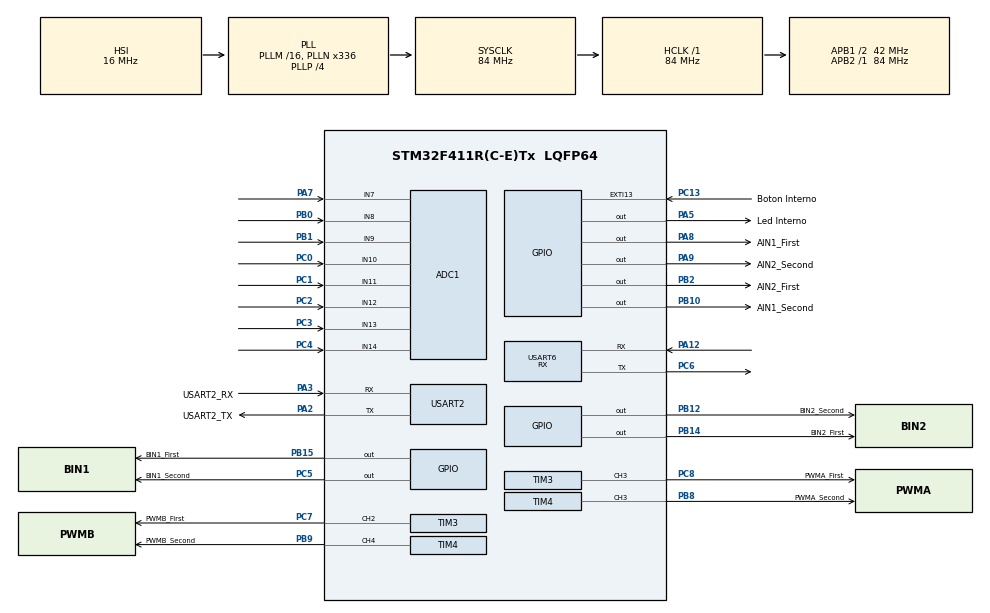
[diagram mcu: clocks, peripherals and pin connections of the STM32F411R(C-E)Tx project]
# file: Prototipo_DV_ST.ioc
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ADC1.Channel-0\#ChannelRegularConversion=ADC_CHANNEL_7
ADC1.Channel-10\#ChannelRegularConversion=ADC_CHANNEL_9
ADC1.Channel-11\#ChannelRegularConversion=ADC_CHANNEL_10
ADC1.Channel-12\#ChannelRegularConversion=ADC_CHANNEL_11
ADC1.Channel-13\#ChannelRegularConversion=ADC_CHANNEL_12
ADC1.Channel-14\#ChannelRegularConversion=ADC_CHANNEL_13
ADC1.Channel-15\#ChannelRegularConversion=ADC_CHANNEL_14
ADC1.Channel-16\#ChannelRegularConversion=ADC_CHANNEL_TEMPSENSOR
ADC1.Channel-9\#ChannelRegularConversion=ADC_CHANNEL_8
ADC1.ContinuousConvMode=ENABLE
ADC1.DMAContinuousRequests=ENABLE
ADC1.NbrOfConversion=9
ADC1.NbrOfConversionFlag=1
ADC1.Rank-10\#ChannelRegularConversion=3
ADC1.Rank-11\#ChannelRegularConversion=4
ADC1.Rank-12\#ChannelRegularConversion=5
ADC1.Rank-13\#ChannelRegularConversion=6
ADC1.Rank-14\#ChannelRegularConversion=7
ADC1.Rank-15\#ChannelRegularConversion=8
ADC1.Rank-16\#ChannelRegularConversion=9
ADC1.Rank-9\#ChannelRegularConversion=2
ADC1.SamplingTime-10\#ChannelRegularConversion=ADC_SAMPLETIME_3CYCLES
ADC1.SamplingTime-11\#ChannelRegularConversion=ADC_SAMPLETIME_3CYCLES
ADC1.SamplingTime-12\#ChannelRegularConversion=ADC_SAMPLETIME_3CYCLES
ADC1.SamplingTime-13\#ChannelRegularConversion=ADC_SAMPLETIME_3CYCLES
ADC1.SamplingTime-14\#ChannelRegularConversion=ADC_SAMPLETIME_3CYCLES
ADC1.SamplingTime-15\#ChannelRegularConversion=ADC_SAMPLETIME_3CYCLES
ADC1.SamplingTime-16\#ChannelRegularConversion=ADC_SAMPLETIME_3CYCLES
ADC1.SamplingTime-9\#ChannelRegularConversion=ADC_SAMPLETIME_3CYCLES
ADC1.ScanConvMode=ENABLE
ADC1.master=1
Dma.ADC1.0.Direction=DMA_PERIPH_TO_MEMORY
Dma.ADC1.0.FIFOMode=DMA_FIFOMODE_DISABLE
Dma.ADC1.0.Instance=DMA2_Stream0
Dma.ADC1.0.MemDataAlignment=DMA_MDATAALIGN_WORD
Dma.ADC1.0.MemInc=DMA_MINC_ENABLE
Dma.ADC1.0.Mode=DMA_CIRCULAR
Dma.ADC1.0.PeriphDataAlignment=DMA_PDATAALIGN_WORD
Dma.ADC1.0.PeriphInc=DMA_PINC_DISABLE
Dma.ADC1.0.Priority=DMA_PRIORITY_LOW
Dma.Request0=ADC1
Mcu.Family=STM32F4
Mcu.Name=STM32F411R(C-E)Tx
Mcu.Package=LQFP64
NVIC.DMA2_Stream0_IRQn=true\:0\:0\:false\:false\:true\:false\:true\:true
NVIC.PriorityGroup=NVIC_PRIORITYGROUP_0
NVIC.USART2_IRQn=true\:0\:0\:false\:false\:true\:true\:true\:true
NVIC.USART6_IRQn=true\:0\:0\:false\:false\:true\:true\:true\:true
PA12.Mode=Asynchronous
PA12.Signal=USART6_RX
PA13.GPIO_Label=SWDIO
PA13.Mode=Serial_Wire
PA13.Signal=SYS_JTMS-SWDIO
PA14.GPIO_Label=SWCLK
PA14.Mode=Serial_Wire
PA14.Signal=SYS_JTCK-SWCLK
PA2.GPIO_Label=USART2_TX
PA2.Mode=Asynchronous
PA2.Signal=USART2_TX
PA3.GPIO_Label=USART2_RX
PA3.Mode=Asynchronous
PA3.Signal=USART2_RX
PA5.GPIO_Label=Led Interno
PA5.Signal=GPIO_Output
PA7.Signal=ADCx_IN7
PA8.GPIO_Label=AIN1_First
PA8.Signal=GPIO_Output
PA9.GPIO_Label=AIN2_Second
PA9.Signal=GPIO_Output
PB0.Signal=ADCx_IN8
PB1.Signal=ADCx_IN9
PB10.GPIO_Label=AIN1_Second
PB10.Signal=GPIO_Output
PB12.GPIO_Label=BIN2_Second
PB12.Signal=GPIO_Output
PB14.GPIO_Label=BIN2_First
PB14.Signal=GPIO_Output
PB15.GPIO_Label=BIN1_First
PB15.Signal=GPIO_Output
PB2.GPIO_Label=AIN2_First
PB2.Signal=GPIO_Output
PB8.GPIO_Label=PWMA_Second
PB8.Signal=S_TIM4_CH3
PB9.GPIO_Label=PWMB_Second
PB9.Signal=S_TIM4_CH4
PC0.Signal=ADCx_IN10
PC1.Signal=ADCx_IN11
PC13-ANTI_TAMP.GPIO_Label=Boton Interno
PC13-ANTI_TAMP.GPIO_ModeDefaultEXTI=GPIO_MODE_IT_FALLING
PC13-ANTI_TAMP.Signal=GPXTI13
PC14-OSC32_IN.Mode=LSE-External-Oscillator
PC14-OSC32_IN.Signal=RCC_OSC32_IN
PC15-OSC32_OUT.Mode=LSE-External-Oscillator
PC15-OSC32_OUT.Signal=RCC_OSC32_OUT
PC2.Signal=ADCx_IN12
PC3.Signal=ADCx_IN13
PC4.Signal=ADCx_IN14
PC5.GPIO_Label=BIN1_Second
PC5.Signal=GPIO_Output
PC6.Mode=Asynchronous
PC6.Signal=USART6_TX
PC7.GPIO_Label=PWMB_First
PC7.Signal=S_TIM3_CH2
PC8.GPIO_Label=PWMA_First
PC8.Signal=S_TIM3_CH3
ProjectManager.HeapSize=0x200
ProjectManager.StackSize=0x400
ProjectManager.TargetToolchain=STM32CubeIDE
RCC.48MHZClocksFreq_Value=84000000
RCC.AHBFreq_Value=84000000
RCC.APB1CLKDivider=RCC_HCLK_DIV2
RCC.APB1Freq_Value=42000000
RCC.APB1TimFreq_Value=84000000
RCC.APB2Freq_Value=84000000
RCC.APB2TimFreq_Value=84000000
RCC.CortexFreq_Value=84000000
RCC.FLatency-AdvancedSettings=FLASH_LATENCY_2
RCC.HCLKFreq_Value=84000000
RCC.HSE_VALUE=8000000
RCC.HSI_VALUE=16000000
RCC.PLLN=336
RCC.PLLP=RCC_PLLP_DIV4
RCC.SYSCLKFreq_VALUE=84000000
RCC.SYSCLKSource=RCC_SYSCLKSOURCE_PLLCLK
RCC.VCOOutputFreq_Value=336000000
SH.ADCx_IN10.0=ADC1_IN10,IN10
SH.ADCx_IN11.0=ADC1_IN11,IN11
SH.ADCx_IN12.0=ADC1_IN12,IN12
SH.ADCx_IN13.0=ADC1_IN13,IN13
SH.ADCx_IN14.0=ADC1_IN14,IN14
SH.ADCx_IN7.0=ADC1_IN7,IN7
SH.ADCx_IN8.0=ADC1_IN8,IN8
SH.ADCx_IN9.0=ADC1_IN9,IN9
SH.S_TIM3_CH2.0=TIM3_CH2,PWM Generation2 CH2
SH.S_TIM3_CH3.0=TIM3_CH3,PWM Generation3 CH3
SH.S_TIM4_CH3.0=TIM4_CH3,PWM Generation3 CH3
SH.S_TIM4_CH4.0=TIM4_CH4,PWM Generation4 CH4
TIM3.Channel-PWM\ Generation2\ CH2=TIM_CHANNEL_2
TIM3.Channel-PWM\ Generation3\ CH3=TIM_CHANNEL_3
TIM3.Period=100-1
TIM3.Prescaler=83
TIM3.Pulse-PWM\ Generation2\ CH2=0
TIM3.Pulse-PWM\ Generation3\ CH3=0
TIM4.Channel-PWM\ Generation3\ CH3=TIM_CHANNEL_3
TIM4.Channel-PWM\ Generation4\ CH4=TIM_CHANNEL_4
TIM4.Period=100-1
TIM4.Prescaler=83
TIM4.Pulse-PWM\ Generation3\ CH3=0
TIM4.Pulse-PWM\ Generation4\ CH4=0
USART2.VirtualMode=VM_ASYNC
USART6.Mode=MODE_RX
USART6.VirtualMode=VM_ASYNC
VP_ADC1_TempSens_Input.Mode=IN-TempSens
VP_TIM4_VS_ClockSourceINT.Mode=Internal
board=NUCLEO-F411RE

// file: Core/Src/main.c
/* USER CODE BEGIN Header */
/**
  ******************************************************************************
  * @file           : main.c
  * @brief          : Main program body
  ******************************************************************************
  * @attention
  *
  * Copyright (c) 2024 STMicroelectronics.
  * All rights reserved.
  *
  * This software is licensed under terms that can be found in the LICENSE file
  * in the root directory of this software component.
  * If no LICENSE file comes with this software, it is provided AS-IS.
  *
  ******************************************************************************
  */
/* USER CODE END Header */
#include "main.h"

/* USER CODE BEGIN Includes */
#include <stdio.h>
#include <string.h>

/* USER CODE END Includes */

ADC_HandleTypeDef hadc1;
DMA_HandleTypeDef hdma_adc1;

TIM_HandleTypeDef htim3;
TIM_HandleTypeDef htim4;

UART_HandleTypeDef huart2;
UART_HandleTypeDef huart6;

/* USER CODE BEGIN PV */

//Variables del ADC
uint32_t adcValues[9] = {0};
int adcDMASize = sizeof(adcValues) / sizeof(adcValues[0]);
char dataTX[50] = {0};
char dataRX[50] = {0};
int cont = 0;

//Variables del QTR8A para el control
uint32_t lineas[8];
uint32_t fondos[8];
uint32_t umbral[8];
uint32_t digitales[8];

//Variables para el PID
float pos;
float ultima_posicion;
uint16_t error = 0;
uint16_t lastError = 0;
uint16_t error1 = 0;
uint16_t error2 = 0;
uint16_t error3 = 0;
uint16_t error4 = 0;
uint16_t error5 = 0;
uint16_t error6 = 0;
uint16_t setpoint = 350;
uint16_t pid_p, pid_d, pid_i;
uint16_t PID = 0;
uint16_t kp = 0;
uint16_t kd = 0;
uint16_t ki = 0;
uint16_t vel = 20;

/* USER CODE END PV */

void SystemClock_Config(void);
static void MX_GPIO_Init(void);
static void MX_DMA_Init(void);
static void MX_USART2_UART_Init(void);
static void MX_TIM3_Init(void);
static void MX_TIM4_Init(void);
static void MX_ADC1_Init(void);
static void MX_USART6_UART_Init(void);
/* USER CODE BEGIN PFP */
void motores(int velFirst, int velSecond);
void leer_lineas();
void leer_fondos();
void calcular_umbral();
void posicion();
void imprimirDigitales();
void imprimirAnalogicos();
void seguidorPID();
/* USER CODE END PFP */

/* USER CODE BEGIN 0 */

void motores(int velFirst, int velSecond){

	if(velFirst >= 0){
		TIM3 -> CCR2 = velFirst;
		TIM3 -> CCR3 = velFirst;
		HAL_GPIO_WritePin(AIN1_First_GPIO_Port, AIN1_First_Pin, SET);
		HAL_GPIO_WritePin(AIN2_First_GPIO_Port, AIN2_First_Pin, RESET);
		HAL_GPIO_WritePin(BIN1_First_GPIO_Port, BIN1_First_Pin, RESET);
		HAL_GPIO_WritePin(BIN2_First_GPIO_Port, BIN2_First_Pin, SET);
	}
	else if(velFirst < 0){
		velFirst *= -1;
		TIM3 -> CCR2 = velFirst;
		TIM3 -> CCR3 = velFirst;
		HAL_GPIO_WritePin(AIN1_First_GPIO_Port, AIN1_First_Pin, RESET);
		HAL_GPIO_WritePin(AIN2_First_GPIO_Port, AIN2_First_Pin, SET);
		HAL_GPIO_WritePin(BIN1_First_GPIO_Port, BIN1_First_Pin, SET);
		HAL_GPIO_WritePin(BIN2_First_GPIO_Port, BIN2_First_Pin, RESET);
	}

	if(velSecond >= 0){
		TIM4 -> CCR3 = velSecond;
		TIM4 -> CCR4 = velSecond;
		HAL_GPIO_WritePin(AIN1_Second_GPIO_Port, AIN1_Second_Pin, SET);
		HAL_GPIO_WritePin(AIN2_Second_GPIO_Port, AIN2_Second_Pin, RESET);
		HAL_GPIO_WritePin(BIN1_Second_GPIO_Port, BIN1_Second_Pin, RESET);
		HAL_GPIO_WritePin(BIN2_Second_GPIO_Port, BIN2_Second_Pin, SET);
	}
	if(velSecond < 0){
		velSecond *= -1;
		TIM4 -> CCR3 = velSecond;
		TIM4 -> CCR4 = velSecond;
		HAL_GPIO_WritePin(AIN1_Second_GPIO_Port, AIN1_Second_Pin, RESET);
		HAL_GPIO_WritePin(AIN2_Second_GPIO_Port, AIN2_Second_Pin, SET);
		HAL_GPIO_WritePin(BIN1_Second_GPIO_Port, BIN1_Second_Pin, SET);
		HAL_GPIO_WritePin(BIN2_Second_GPIO_Port, BIN2_Second_Pin, RESET);
	}

}

void leer_lineas(){

	memset(dataTX, 0 , strlen(dataTX));
	sprintf(dataTX, "Leyendo la linea...\r\n");
	HAL_UART_Transmit(&huart2, (uint8_t *)dataTX, strlen(dataTX), HAL_MAX_DELAY);

	for(uint8_t i = 0; i < 8; i ++){
		lineas[i] = adcValues[i];
	}

	memset(dataTX, 0,  strlen(dataTX));
	sprintf(dataTX, "%ld, %ld, %ld, %ld, %ld, %ld, %ld, %ld\r\n",lineas[0], lineas[1], lineas[2], lineas[3], lineas[4], lineas[5], lineas[6], lineas[7]);
	HAL_UART_Transmit(&huart2, (uint8_t *)dataTX, strlen(dataTX), HAL_MAX_DELAY);

}

void leer_fondos(){

	memset(dataTX, 0 , strlen(dataTX));
	sprintf(dataTX, "\nLeyendo el fondo...\r\n");
	HAL_UART_Transmit(&huart2, (uint8_t *)dataTX, strlen(dataTX), HAL_MAX_DELAY);

	for(uint8_t i = 0; i < 8; i ++){
		fondos[i] = adcValues[i];
	}

	memset(dataTX, 0,  strlen(dataTX));
	sprintf(dataTX, "%ld, %ld, %ld, %ld, %ld, %ld, %ld, %ld\r\n",fondos[0], fondos[1], fondos[2], fondos[3], fondos[4], fondos[5], fondos[6], fondos[7]);
	HAL_UART_Transmit(&huart2, (uint8_t *)dataTX, strlen(dataTX), HAL_MAX_DELAY);

}

void calcular_umbral(){

	memset(dataTX, 0 ,  strlen(dataTX));
	sprintf(dataTX, "\nCalculando el umbral...\r\n");
	HAL_UART_Transmit(&huart2, (uint8_t *)dataTX, strlen(dataTX), HAL_MAX_DELAY);

	for(uint8_t i = 0; i < 8; i ++){
		umbral[i] = (lineas[i] + fondos[i]) / 2;
	}

	memset(dataTX, 0,  strlen(dataTX));
	sprintf(dataTX, "%ld, %ld, %ld, %ld, %ld, %ld, %ld, %ld\r\n\nGo! :)\n",umbral[0], umbral[1], umbral[2], umbral[3], umbral[4], umbral[5], umbral[6], umbral[7]);
	HAL_UART_Transmit(&huart2, (uint8_t *)dataTX, strlen(dataTX), HAL_MAX_DELAY);

}

void posicion() {

  for(uint8_t i = 0; i < 8; i++){

    if(adcValues[i] >= umbral[i]){
      digitales[i] = 1;
    }
    else{
      digitales[i] = 0;
    }
  }

  float sumaPonderada = digitales[0] * 0 + digitales[1] * 100 + digitales[2] * 200 + digitales[3] * 300 + digitales[4] * 400 + digitales[5] * 500 + digitales[6] * 600 + digitales[7] * 700;
  float sumaTotal = digitales[0] + digitales[1] + digitales[2] + digitales[3] + digitales[4] + digitales[5] + digitales[6] + digitales[7];
  pos = sumaPonderada / sumaTotal;

  if (ultima_posicion <= 50 && pos == -1) pos = 0;
  if (ultima_posicion >= 650 && pos == -1) pos = 700;
  ultima_posicion = pos;

  imprimirAnalogicos();
  //imprimirDigitales();

}

void imprimirDigitales(){

	memset(dataTX, 0,  strlen(dataTX));
	sprintf(dataTX, "%ld, %ld, %ld, %ld, %ld, %ld, %ld, %ld, %2.f\r\n",digitales[0], digitales[1], digitales[2], digitales[3], digitales[4], digitales[5], digitales[6], digitales[7], pos);
	HAL_UART_Transmit(&huart2, (uint8_t *)dataTX, strlen(dataTX), HAL_MAX_DELAY);

}

void imprimirAnalogicos(){

	memset(dataTX, 0,  strlen(dataTX));
	sprintf(dataTX, "%ld, %ld, %ld, %ld, %ld, %ld, %ld, %ld, %2.f\r\n",adcValues[0], adcValues[1], adcValues[2], adcValues[3], adcValues[4], adcValues[5], adcValues[6], adcValues[7], pos);
	HAL_UART_Transmit(&huart2, (uint8_t *)dataTX, strlen(dataTX), HAL_MAX_DELAY);

}

void seguidorPID(){

	error = pos - setpoint;

	pid_p = error * kp;
	pid_d = (error - lastError) * kd;
	pid_i = (error1 + error2 + error3 + error4 + error5 + error6) * ki;

  	error6 = error5;
  	error5 = error4;
  	error4 = error3;
  	error3 = error2;
  	error2 = error1;
  	error1 = error;
  	lastError = error;

  	PID = pid_p + pid_d + pid_i;
  	motores(vel + PID, vel - PID);

}

/* USER CODE END 0 */

int main(void)
{

  /* MCU Configuration--------------------------------------------------------*/

  /* Reset of all peripherals, Initializes the Flash interface and the Systick. */
  HAL_Init();

  /* Configure the system clock */
  SystemClock_Config();

  /* Initialize all configured peripherals */
  MX_GPIO_Init();
  MX_DMA_Init();
  MX_USART2_UART_Init();
  MX_TIM3_Init();
  MX_TIM4_Init();
  MX_ADC1_Init();
  MX_USART6_UART_Init();
  /* USER CODE BEGIN 2 */
  HAL_TIM_PWM_Start(&htim3,TIM_CHANNEL_2);
  HAL_TIM_PWM_Start(&htim3,TIM_CHANNEL_3);
  HAL_TIM_PWM_Start(&htim4,TIM_CHANNEL_3);
  HAL_TIM_PWM_Start(&htim4,TIM_CHANNEL_4);
  HAL_ADC_Start_DMA(&hadc1, adcValues, adcDMASize);
  /* USER CODE END 2 */

  /* Infinite loop */
  /* USER CODE BEGIN WHILE */

  while(HAL_GPIO_ReadPin(Boton_Interno_GPIO_Port, Boton_Interno_Pin));
  leer_lineas();
  HAL_Delay(1000);
  while(HAL_GPIO_ReadPin(Boton_Interno_GPIO_Port, Boton_Interno_Pin));
  leer_fondos();
  HAL_Delay(1000);
  while(HAL_GPIO_ReadPin(Boton_Interno_GPIO_Port, Boton_Interno_Pin));
  calcular_umbral();
  HAL_Delay(1000);
  memset(dataRX, 0, 4);

  /*while(cont == 0)
  {
	  HAL_UART_Receive_IT(&huart6, (uint8_t*)dataRX, 4);
  }*/

  while (1)
  {
	  HAL_GPIO_TogglePin(Led_Interno_GPIO_Port, Led_Interno_Pin);
	  posicion();
	  //seguidorPID();
	  //HAL_UART_Receive_IT(&huart6, (uint8_t*)dataRX, 4);
	  HAL_Delay(500);

    /* USER CODE END WHILE */

  }
}

void SystemClock_Config(void)
{
  RCC_OscInitTypeDef RCC_OscInitStruct = {0};
  RCC_ClkInitTypeDef RCC_ClkInitStruct = {0};

  /** Configure the main internal regulator output voltage
  */
  __HAL_RCC_PWR_CLK_ENABLE();
  __HAL_PWR_VOLTAGESCALING_CONFIG(PWR_REGULATOR_VOLTAGE_SCALE1);

  /** Initializes the RCC Oscillators according to the specified parameters
  * in the RCC_OscInitTypeDef structure.
  */
  RCC_OscInitStruct.OscillatorType = RCC_OSCILLATORTYPE_HSI;
  RCC_OscInitStruct.HSIState = RCC_HSI_ON;
  RCC_OscInitStruct.HSICalibrationValue = RCC_HSICALIBRATION_DEFAULT;
  RCC_OscInitStruct.PLL.PLLState = RCC_PLL_ON;
  RCC_OscInitStruct.PLL.PLLSource = RCC_PLLSOURCE_HSI;
  RCC_OscInitStruct.PLL.PLLM = 16;
  RCC_OscInitStruct.PLL.PLLN = 336;
  RCC_OscInitStruct.PLL.PLLP = RCC_PLLP_DIV4;
  RCC_OscInitStruct.PLL.PLLQ = 4;
  if (HAL_RCC_OscConfig(&RCC_OscInitStruct) != HAL_OK)
  {
    Error_Handler();
  }

  /** Initializes the CPU, AHB and APB buses clocks
  */
  RCC_ClkInitStruct.ClockType = RCC_CLOCKTYPE_HCLK|RCC_CLOCKTYPE_SYSCLK
                              |RCC_CLOCKTYPE_PCLK1|RCC_CLOCKTYPE_PCLK2;
  RCC_ClkInitStruct.SYSCLKSource = RCC_SYSCLKSOURCE_PLLCLK;
  RCC_ClkInitStruct.AHBCLKDivider = RCC_SYSCLK_DIV1;
  RCC_ClkInitStruct.APB1CLKDivider = RCC_HCLK_DIV2;
  RCC_ClkInitStruct.APB2CLKDivider = RCC_HCLK_DIV1;

  if (HAL_RCC_ClockConfig(&RCC_ClkInitStruct, FLASH_LATENCY_2) != HAL_OK)
  {
    Error_Handler();
  }
}

static void MX_ADC1_Init(void)
{

  ADC_ChannelConfTypeDef sConfig = {0};

  /** Configure the global features of the ADC (Clock, Resolution, Data Alignment and number of conversion)
  */
  hadc1.Instance = ADC1;
  hadc1.Init.ClockPrescaler = ADC_CLOCK_SYNC_PCLK_DIV4;
  hadc1.Init.Resolution = ADC_RESOLUTION_12B;
  hadc1.Init.ScanConvMode = ENABLE;
  hadc1.Init.ContinuousConvMode = ENABLE;
  hadc1.Init.DiscontinuousConvMode = DISABLE;
  hadc1.Init.ExternalTrigConvEdge = ADC_EXTERNALTRIGCONVEDGE_NONE;
  hadc1.Init.ExternalTrigConv = ADC_SOFTWARE_START;
  hadc1.Init.DataAlign = ADC_DATAALIGN_RIGHT;
  hadc1.Init.NbrOfConversion = 9;
  hadc1.Init.DMAContinuousRequests = ENABLE;
  hadc1.Init.EOCSelection = ADC_EOC_SINGLE_CONV;
  if (HAL_ADC_Init(&hadc1) != HAL_OK)
  {
    Error_Handler();
  }

  /** Configure for the selected ADC regular channel its corresponding rank in the sequencer and its sample time.
  */
  sConfig.Channel = ADC_CHANNEL_7;
  sConfig.Rank = 1;
  sConfig.SamplingTime = ADC_SAMPLETIME_3CYCLES;
  if (HAL_ADC_ConfigChannel(&hadc1, &sConfig) != HAL_OK)
  {
    Error_Handler();
  }

  /** Configure for the selected ADC regular channel its corresponding rank in the sequencer and its sample time.
  */
  sConfig.Channel = ADC_CHANNEL_8;
  sConfig.Rank = 2;
  if (HAL_ADC_ConfigChannel(&hadc1, &sConfig) != HAL_OK)
  {
    Error_Handler();
  }

  /** Configure for the selected ADC regular channel its corresponding rank in the sequencer and its sample time.
  */
  sConfig.Channel = ADC_CHANNEL_9;
  sConfig.Rank = 3;
  if (HAL_ADC_ConfigChannel(&hadc1, &sConfig) != HAL_OK)
  {
    Error_Handler();
  }

  /** Configure for the selected ADC regular channel its corresponding rank in the sequencer and its sample time.
  */
  sConfig.Channel = ADC_CHANNEL_10;
  sConfig.Rank = 4;
  if (HAL_ADC_ConfigChannel(&hadc1, &sConfig) != HAL_OK)
  {
    Error_Handler();
  }

  /** Configure for the selected ADC regular channel its corresponding rank in the sequencer and its sample time.
  */
  sConfig.Channel = ADC_CHANNEL_11;
  sConfig.Rank = 5;
  if (HAL_ADC_ConfigChannel(&hadc1, &sConfig) != HAL_OK)
  {
    Error_Handler();
  }

  /** Configure for the selected ADC regular channel its corresponding rank in the sequencer and its sample time.
  */
  sConfig.Channel = ADC_CHANNEL_12;
  sConfig.Rank = 6;
  if (HAL_ADC_ConfigChannel(&hadc1, &sConfig) != HAL_OK)
  {
    Error_Handler();
  }

  /** Configure for the selected ADC regular channel its corresponding rank in the sequencer and its sample time.
  */
  sConfig.Channel = ADC_CHANNEL_13;
  sConfig.Rank = 7;
  if (HAL_ADC_ConfigChannel(&hadc1, &sConfig) != HAL_OK)
  {
    Error_Handler();
  }

  /** Configure for the selected ADC regular channel its corresponding rank in the sequencer and its sample time.
  */
  sConfig.Channel = ADC_CHANNEL_14;
  sConfig.Rank = 8;
  if (HAL_ADC_ConfigChannel(&hadc1, &sConfig) != HAL_OK)
  {
    Error_Handler();
  }

  /** Configure for the selected ADC regular channel its corresponding rank in the sequencer and its sample time.
  */
  sConfig.Channel = ADC_CHANNEL_TEMPSENSOR;
  sConfig.Rank = 9;
  if (HAL_ADC_ConfigChannel(&hadc1, &sConfig) != HAL_OK)
  {
    Error_Handler();
  }

}

static void MX_TIM3_Init(void)
{

  TIM_MasterConfigTypeDef sMasterConfig = {0};
  TIM_OC_InitTypeDef sConfigOC = {0};

  htim3.Instance = TIM3;
  htim3.Init.Prescaler = 83;
  htim3.Init.CounterMode = TIM_COUNTERMODE_UP;
  htim3.Init.Period = 100-1;
  htim3.Init.ClockDivision = TIM_CLOCKDIVISION_DIV1;
  htim3.Init.AutoReloadPreload = TIM_AUTORELOAD_PRELOAD_DISABLE;
  if (HAL_TIM_PWM_Init(&htim3) != HAL_OK)
  {
    Error_Handler();
  }
  sMasterConfig.MasterOutputTrigger = TIM_TRGO_RESET;
  sMasterConfig.MasterSlaveMode = TIM_MASTERSLAVEMODE_DISABLE;
  if (HAL_TIMEx_MasterConfigSynchronization(&htim3, &sMasterConfig) != HAL_OK)
  {
    Error_Handler();
  }
  sConfigOC.OCMode = TIM_OCMODE_PWM1;
  sConfigOC.Pulse = 0;
  sConfigOC.OCPolarity = TIM_OCPOLARITY_HIGH;
  sConfigOC.OCFastMode = TIM_OCFAST_DISABLE;
  if (HAL_TIM_PWM_ConfigChannel(&htim3, &sConfigOC, TIM_CHANNEL_2) != HAL_OK)
  {
    Error_Handler();
  }
  if (HAL_TIM_PWM_ConfigChannel(&htim3, &sConfigOC, TIM_CHANNEL_3) != HAL_OK)
  {
    Error_Handler();
  }
  HAL_TIM_MspPostInit(&htim3);

}

static void MX_TIM4_Init(void)
{

  TIM_ClockConfigTypeDef sClockSourceConfig = {0};
  TIM_MasterConfigTypeDef sMasterConfig = {0};
  TIM_OC_InitTypeDef sConfigOC = {0};

  htim4.Instance = TIM4;
  htim4.Init.Prescaler = 83;
  htim4.Init.CounterMode = TIM_COUNTERMODE_UP;
  htim4.Init.Period = 100-1;
  htim4.Init.ClockDivision = TIM_CLOCKDIVISION_DIV1;
  htim4.Init.AutoReloadPreload = TIM_AUTORELOAD_PRELOAD_DISABLE;
  if (HAL_TIM_Base_Init(&htim4) != HAL_OK)
  {
    Error_Handler();
  }
  sClockSourceConfig.ClockSource = TIM_CLOCKSOURCE_INTERNAL;
  if (HAL_TIM_ConfigClockSource(&htim4, &sClockSourceConfig) != HAL_OK)
  {
    Error_Handler();
  }
  if (HAL_TIM_PWM_Init(&htim4) != HAL_OK)
  {
    Error_Handler();
  }
  sMasterConfig.MasterOutputTrigger = TIM_TRGO_RESET;
  sMasterConfig.MasterSlaveMode = TIM_MASTERSLAVEMODE_DISABLE;
  if (HAL_TIMEx_MasterConfigSynchronization(&htim4, &sMasterConfig) != HAL_OK)
  {
    Error_Handler();
  }
  sConfigOC.OCMode = TIM_OCMODE_PWM1;
  sConfigOC.Pulse = 0;
  sConfigOC.OCPolarity = TIM_OCPOLARITY_HIGH;
  sConfigOC.OCFastMode = TIM_OCFAST_DISABLE;
  if (HAL_TIM_PWM_ConfigChannel(&htim4, &sConfigOC, TIM_CHANNEL_3) != HAL_OK)
  {
    Error_Handler();
  }
  if (HAL_TIM_PWM_ConfigChannel(&htim4, &sConfigOC, TIM_CHANNEL_4) != HAL_OK)
  {
    Error_Handler();
  }
  HAL_TIM_MspPostInit(&htim4);

}

static void MX_USART2_UART_Init(void)
{

  huart2.Instance = USART2;
  huart2.Init.BaudRate = 115200;
  huart2.Init.WordLength = UART_WORDLENGTH_8B;
  huart2.Init.StopBits = UART_STOPBITS_1;
  huart2.Init.Parity = UART_PARITY_NONE;
  huart2.Init.Mode = UART_MODE_TX_RX;
  huart2.Init.HwFlowCtl = UART_HWCONTROL_NONE;
  huart2.Init.OverSampling = UART_OVERSAMPLING_16;
  if (HAL_UART_Init(&huart2) != HAL_OK)
  {
    Error_Handler();
  }

}

static void MX_USART6_UART_Init(void)
{

  huart6.Instance = USART6;
  huart6.Init.BaudRate = 115200;
  huart6.Init.WordLength = UART_WORDLENGTH_8B;
  huart6.Init.StopBits = UART_STOPBITS_1;
  huart6.Init.Parity = UART_PARITY_NONE;
  huart6.Init.Mode = UART_MODE_RX;
  huart6.Init.HwFlowCtl = UART_HWCONTROL_NONE;
  huart6.Init.OverSampling = UART_OVERSAMPLING_16;
  if (HAL_UART_Init(&huart6) != HAL_OK)
  {
    Error_Handler();
  }

}

static void MX_DMA_Init(void)
{

  /* DMA controller clock enable */
  __HAL_RCC_DMA2_CLK_ENABLE();

  /* DMA interrupt init */
  /* DMA2_Stream0_IRQn interrupt configuration */
  HAL_NVIC_SetPriority(DMA2_Stream0_IRQn, 0, 0);
  HAL_NVIC_EnableIRQ(DMA2_Stream0_IRQn);

}

static void MX_GPIO_Init(void)
{
  GPIO_InitTypeDef GPIO_InitStruct = {0};

  /* GPIO Ports Clock Enable */
  __HAL_RCC_GPIOC_CLK_ENABLE();
  __HAL_RCC_GPIOA_CLK_ENABLE();
  __HAL_RCC_GPIOB_CLK_ENABLE();

  /*Configure GPIO pin Output Level */
  HAL_GPIO_WritePin(GPIOA, Led_Interno_Pin|AIN1_First_Pin|AIN2_Second_Pin, GPIO_PIN_RESET);

  /*Configure GPIO pin Output Level */
  HAL_GPIO_WritePin(BIN1_Second_GPIO_Port, BIN1_Second_Pin, GPIO_PIN_RESET);

  /*Configure GPIO pin Output Level */
  HAL_GPIO_WritePin(GPIOB, AIN2_First_Pin|AIN1_Second_Pin|BIN2_Second_Pin|BIN2_First_Pin
                          |BIN1_First_Pin, GPIO_PIN_RESET);

  /*Configure GPIO pin : Boton_Interno_Pin */
  GPIO_InitStruct.Pin = Boton_Interno_Pin;
  GPIO_InitStruct.Mode = GPIO_MODE_IT_FALLING;
  GPIO_InitStruct.Pull = GPIO_NOPULL;
  HAL_GPIO_Init(Boton_Interno_GPIO_Port, &GPIO_InitStruct);

  /*Configure GPIO pins : Led_Interno_Pin AIN1_First_Pin AIN2_Second_Pin */
  GPIO_InitStruct.Pin = Led_Interno_Pin|AIN1_First_Pin|AIN2_Second_Pin;
  GPIO_InitStruct.Mode = GPIO_MODE_OUTPUT_PP;
  GPIO_InitStruct.Pull = GPIO_NOPULL;
  GPIO_InitStruct.Speed = GPIO_SPEED_FREQ_LOW;
  HAL_GPIO_Init(GPIOA, &GPIO_InitStruct);

  /*Configure GPIO pin : BIN1_Second_Pin */
  GPIO_InitStruct.Pin = BIN1_Second_Pin;
  GPIO_InitStruct.Mode = GPIO_MODE_OUTPUT_PP;
  GPIO_InitStruct.Pull = GPIO_NOPULL;
  GPIO_InitStruct.Speed = GPIO_SPEED_FREQ_LOW;
  HAL_GPIO_Init(BIN1_Second_GPIO_Port, &GPIO_InitStruct);

  /*Configure GPIO pins : AIN2_First_Pin AIN1_Second_Pin BIN2_Second_Pin BIN2_First_Pin
                           BIN1_First_Pin */
  GPIO_InitStruct.Pin = AIN2_First_Pin|AIN1_Second_Pin|BIN2_Second_Pin|BIN2_First_Pin
                          |BIN1_First_Pin;
  GPIO_InitStruct.Mode = GPIO_MODE_OUTPUT_PP;
  GPIO_InitStruct.Pull = GPIO_NOPULL;
  GPIO_InitStruct.Speed = GPIO_SPEED_FREQ_LOW;
  HAL_GPIO_Init(GPIOB, &GPIO_InitStruct);

}

/* USER CODE BEGIN 4 */
void HAL_UART_RxCpltCallback(UART_HandleTypeDef *huart)
{
  cont++;
  memset(dataTX, 0 , strlen(dataTX));
  sprintf(dataTX, "\nData recibida: %s\r", dataRX);
  HAL_UART_Transmit(&huart2, (uint8_t*) dataTX, sizeof(dataTX), HAL_MAX_DELAY);
  memset(dataRX, 0 , 4);
  HAL_UART_Receive_IT(&huart6, (uint8_t*)dataRX, 4);
}
/* USER CODE END 4 */

void Error_Handler(void)
{
  __disable_irq();
  while (1)
  {
  }
}
